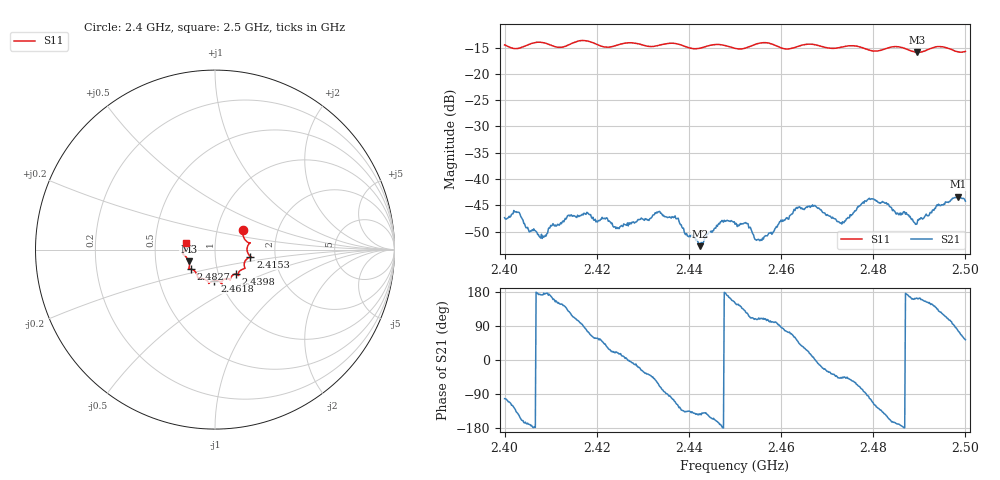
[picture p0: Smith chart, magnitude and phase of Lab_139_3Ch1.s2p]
# Hz S RI R 50
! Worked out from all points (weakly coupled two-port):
!   601 points, 2.4 GHz to 2.5 GHz, reference 50 ohm
!   highest |S21| = -43.37 dB at 2.4985 GHz (marker M1); lowest = -52.8 dB at 2.4425 GHz (marker M2)
!   lowest |S11| = -15.9 dB at 2.4895 GHz (marker M3), VSWR 1.38, Z = 37 - j4.99 ohm
!   |S11| at or under -10 dB: start of sweep to end of sweep
!   S12 and S22 are empty: the file has one direction only
!   S11 on the Smith chart (normalised r, x): 2.4 GHz: 1.33, +0.30; 2.4153 GHz: 1.48, -0.12; 2.4398 GHz: 1.21, -0.34; 2.4618 GHz: 0.94, -0.33; 2.4827 GHz: 0.75, -0.17; 2.5 GHz: 0.72, +0.06
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2.4e9  0.1552 0.107  -0.00089 -0.00419  0 0  0 0
2.402833e9  0.1629 0.0617  -0.00375 -0.00306  0 0  0 0
2.408167e9  0.1952 0.0376  -0.00269 0.000374  0 0  0 0
2.415333e9  0.1971 -0.0393  -0.00148 0.00415  0 0  0 0
2.416667e9  0.2029 -0.0435  -0.000404 0.00452  0 0  0 0
2.4245e9  0.1632 -0.0929  0.0032 0.00108  0 0  0 0
2.433333e9  0.1297 -0.1337  0.00225 -0.00432  0 0  0 0
2.437333e9  0.1308 -0.1426  -0.00187 -0.00373  0 0  0 0
2.439833e9  0.1152 -0.1356  -0.00202 -0.002  0 0  0 0
2.4425e9  0.0918 -0.1499  -0.00181 -0.00141  0 0  0 0
2.446833e9  0.0845 -0.1697  -0.00385 -0.000693  0 0  0 0
2.45e9  0.0657 -0.1621  -0.00324 0.00181  0 0  0 0
2.455333e9  0.037 -0.1924  -0.000793 0.00247  0 0  0 0
2.461833e9  -0.00329 -0.173  0.00125 0.00427  0 0  0 0
2.466667e9  -0.035 -0.1881  0.00539 0.00103  0 0  0 0
2.473167e9  -0.0822 -0.16  0.0025 -0.00276  0 0  0 0
2.478667e9  -0.1016 -0.1373  -0.000409 -0.00627  0 0  0 0
2.482667e9  -0.1351 -0.1087  -0.00476 -0.00346  0 0  0 0
2.483333e9  -0.1402 -0.1082  -0.00516 -0.00248  0 0  0 0
2.4895e9  -0.1457 -0.0657  -0.00358 0.00107  0 0  0 0
2.4985e9  -0.1611 0.0124  0.00171 0.00657  0 0  0 0
2.5e9  -0.159 0.0385  0.00366 0.00494  0 0  0 0
